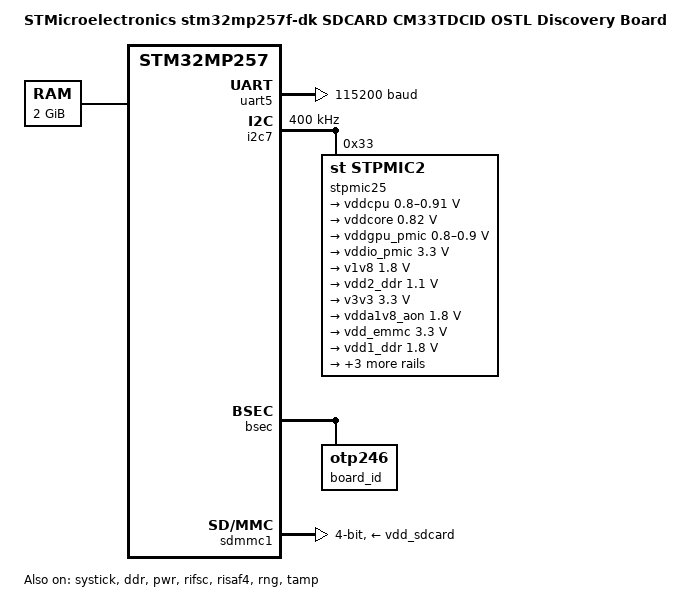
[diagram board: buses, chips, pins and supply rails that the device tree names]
/*
 * Copyright (c) 2026, STMicroelectronics - All Rights Reserved
 *
 * SPDX-License-Identifier: Apache-2.0
 */

/dts-v1/;

#include <dt-bindings/clock/stm32mp25-clksrc.h>
#include <dt-bindings/reset/st,stm32mp25-rcc.h>
#include <dt-bindings/rif/stm32mp25-rif.h>
#include <dt-bindings/rif/stm32mp2-rifsc.h>
#include <dt-bindings/rif/stm32mp25-rifsc.h>
#include <dt-bindings/rif/stm32mp2-risaf.h>
#include <dt-bindings/rif/stm32mp25-risab.h>
#include <dt-bindings/memory-attr/memory-attr-arm.h>

#include "stm32mp257.dtsi"
#include "stm32mp25x-bl2.dtsi"
#include "stm32mp257f-dk-cm33tdcid-bl2-resmem.dtsi"
#include "stm32mp257f-dk-cm33tdcid-sdmmc1-bl2-rcc.dtsi"
#include "stm32mp257f-dk-cm33tdcid-sdmmc1-bl2-rif.dtsi"
#include "stm32mp25-lpddr4-1x32Gbits-1x32bits-1200MHz.dtsi"
#include "stm32mp25-pinctrl.dtsi"
#include "stm32mp25xxai-pinctrl.dtsi"

/ {
	model = "STMicroelectronics stm32mp257f-dk SDCARD CM33TDCID OSTL Discovery Board";
	compatible = "st,stm32mp257f-dk-cm33tdcid-ostl-sdcard", "st,stm32mp257f-dk", "st,stm32mp257";

	aliases {
		serial0 = &uart5;
	};

	chosen {
		stdout-device = &uart5;
		tfm,entropy = &rng;
		tfm,watchdog = &iwdg3;
	};

	memory@80000000 {
		device_type = "memory";
		reg = <0x80000000 0x80000000>;
	};

	otp {
		nvmem-cells = <&implementation_id>,
			      <&rpn_otp>,
			      <&bootrom_config_9>,
			      <&id_otp>,
			      <&package_otp>,
			      <&hconf1_otp>,
			      <&tfm_fw_pkh>,
			      <&ddr_fw_pkh>,
			      <&ca35_fw_pkh>,
			      <&board_id>,
			      <&iak>;
		nvmem-cell-names = "implementation_id",
				   "rpn_otp",
				   "bootrom_config_9",
				   "id_otp",
				   "package_otp",
				   "hconf1_otp",
				   "tfm_fw_pkh",
				   "ddr_fw_pkh",
				   "ca35_fw_pkh",
				   "board_id",
				   "iak";
	};

};

&nvram {
	status = "okay";

	nvmem-layout {
		#address-cells = <1>;
		#size-cells = <1>;
		cm_fwu_info: tamp-bkp@124 {
			#nvmem-cell-cells = <0>;
			reg = <0x124 0x4>;
		};
	};
};

&uart5 {
	pinctrl-names = "default";
	pinctrl-0 = <&uart5_pins_a>;
	clocks = <&rcc CK_KER_UART5>;
	current-speed = <115200>;
	status = "okay";
};

&systick {
	clocks = <&rcc CK_ICN_HS_MCU>;
	clock-frequency = <1000000>; /* tick at 1us */
	status = "okay";
};

&i2c7 {
	pinctrl-names = "default", "sleep";
	pinctrl-0 = <&i2c7_pins_a>;
	pinctrl-1 = <&i2c7_sleep_pins_a>;
	i2c-scl-rising-time-ns = <185>;
	i2c-scl-falling-time-ns = <20>;
	clock-frequency = <400000>;
	status = "okay";

	#address-cells = <1>;
	#size-cells = <0>;

	stpmic25: pmic@33 {
		compatible = "st,stpmic2";
		reg = <0x33>;
		interrupt-controller;
		#interrupt-cells = <1>;
		status = "okay";

		regulators {
			compatible = "st,stpmic2-regulators";

			vddcpu: buck1 {
				regulator-name = "vddcpu";
				regulator-min-microvolt = <800000>;
				regulator-max-microvolt = <910000>;
				regulator-always-on;
			};
			vddcore: buck2 {
				regulator-name = "vddcore";
				regulator-min-microvolt = <820000>;
				regulator-max-microvolt = <820000>;
				regulator-always-on;
			};
			vddgpu_pmic: buck3 {
				regulator-name = "vddgpu_pmic";
				regulator-min-microvolt = <800000>;
				regulator-max-microvolt = <900000>;
			};
			vddio_pmic: buck4 {
				regulator-name = "vddio_pmic";
				regulator-min-microvolt = <3300000>;
				regulator-max-microvolt = <3300000>;
				regulator-always-on;
				st,mask-reset;
			};
			v1v8: buck5 {
				regulator-name = "v1v8";
				regulator-min-microvolt = <1800000>;
				regulator-max-microvolt = <1800000>;
				regulator-always-on;
			};
			vdd2_ddr: buck6 {
				regulator-name = "vdd2_ddr";
				regulator-min-microvolt = <1100000>;
				regulator-max-microvolt = <1100000>;
			};
			v3v3: buck7 {
				regulator-name = "v3v3";
				regulator-min-microvolt = <3300000>;
				regulator-max-microvolt = <3300000>;
				regulator-always-on;
			};
			vdda1v8_aon: ldo1 {
				regulator-name = "vdda1v8_aon";
				regulator-min-microvolt = <1800000>;
				regulator-max-microvolt = <1800000>;
				regulator-always-on;
				st,mask-reset;
			};
			vdd_emmc: ldo2 {
				regulator-name = "vdd_emmc";
				regulator-min-microvolt = <3300000>;
				regulator-max-microvolt = <3300000>;
			};
			vdd1_ddr: ldo3 {
				regulator-name = "vdd1_ddr";
				regulator-min-microvolt = <1800000>;
				regulator-max-microvolt = <1800000>;
			};
			vdd3v3_usb: ldo4 {
				regulator-name = "vdd3v3_usb";
				regulator-min-microvolt = <3300000>;
				regulator-max-microvolt = <3300000>;
				regulator-always-on;
			};
			vdd_sdcard: ldo7 {
				regulator-name = "vdd_sdcard";
				regulator-min-microvolt = <3300000>;
				regulator-max-microvolt = <3300000>;
				regulator-always-on;
				st,regulator-bypass-microvolt = <3300000>;
			};
			vddio_sdcard: ldo8 {
				regulator-name = "vddio_sdcard";
				regulator-min-microvolt = <1800000>;
				regulator-max-microvolt = <3300000>;
				st,regulator-bypass-microvolt = <3300000>;
			};
		};
	};
};

&ddr {
	vdd1-supply = <&vdd1_ddr>;
	vdd2-supply = <&vdd2_ddr>;
	vddq-supply = <&vdd2_ddr>;
	status = "okay";
};

&bsec {
	status = "okay";

	board_id: otp246@3d8 {
		#nvmem-cell-cells = <0>;
		reg = <0x3d8 0x4>;
	};
};

&pwr {
	status = "okay";

	pwr_rif: access-controller {
		status = "okay";
	};

	regulators {
		status = "okay";

		vdd33ucpd: vdd33ucpd {
			status = "okay";
			regulator-min-microvolt = <3300000>;
			regulator-max-microvolt = <3300000>;
			vin-supply = <&vdd3v3_usb>;
			regulator-always-on;
		};

		vdda18adc: vdda18adc {
			status = "okay";
			regulator-min-microvolt = <1800000>;
			regulator-max-microvolt = <1800000>;
			vin-supply = <&v1v8>;
			regulator-always-on;
		};

		vddgpu: vddgpu {
			status = "okay";
			vin-supply = <&vddgpu_pmic>;
		};

		vddio1: vddio1 {
			status = "okay";
			regulator-min-microvolt = <1800000>;
			regulator-max-microvolt = <3300000>;
			vin-supply = <&vddio_sdcard>;
		};

		vddio2: vddio2 {
			status = "okay";
			vin-supply = <&v1v8>;
			regulator-always-on;
		};

		vddio3: vddio3 {
			status = "okay";
			vin-supply = <&vddio_pmic>;
			regulator-always-on;
		};

		vddio4: vddio4 {
			status = "okay";
			vin-supply = <&vddio_pmic>;
			regulator-always-on;
		};

		vddio: vddio {
			status = "okay";
			vin-supply = <&vddio_pmic>;
		};
	};
};

&hconf1_otp {
	shadow-provisionning = <0x00018000>;
};

&ramcfg {
	status = "okay";
};

&rifsc {
	status = "okay";
};

&risaf4 {
	status = "okay";
};

&rng {
	status = "okay";
};

&sdmmc1 {
	pinctrl-names = "default";
	pinctrl-0 = <&sdmmc1_b4_pins_a>;
	st,neg-edge;
	no-mmc;
	bus-width = <4>;
	vmmc-supply = <&vdd_sdcard>;
	vqmmc-supply = <&vddio1>;
	status = "okay";
};

&tamp {
	status = "okay";
};

&iwdg3 {
	/* If the watchdog is started the NS application must ping watchdog */
	/*status = "okay";*/
	timeout-sec = <120>;
};
